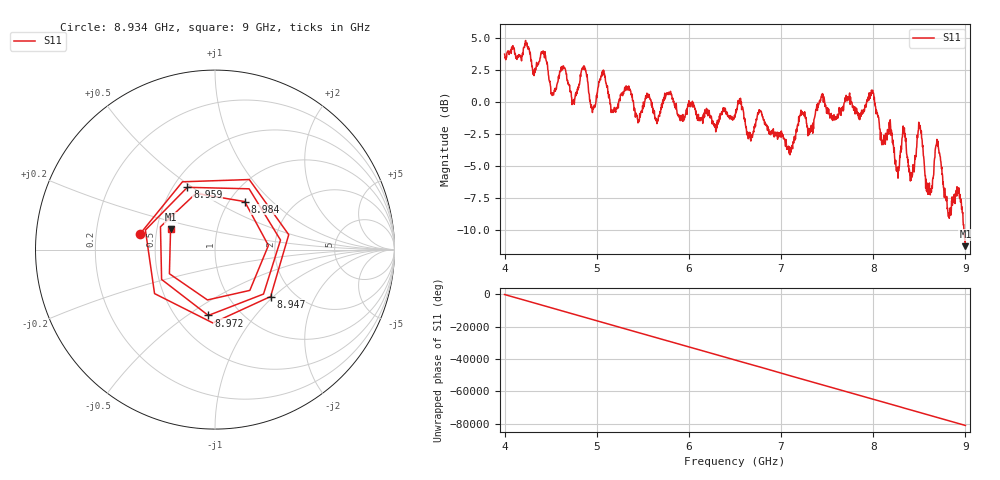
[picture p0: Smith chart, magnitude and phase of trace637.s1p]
! Created with skrf 1.8.0 (http://scikit-rf.org).
# Hz S RI R 50.0
!freq ReS11 ImS11
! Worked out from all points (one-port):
!   1601 points, 4 GHz to 9 GHz, reference 50 ohm
!   lowest |S11| = -11.3 dB at 9 GHz (marker M1), VSWR 1.75, Z = 29.5 + j7.21 ohm
!   |S11| at or under -10 dB: 8.983703 GHz to end of sweep
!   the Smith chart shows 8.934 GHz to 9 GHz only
!   S11 on the Smith chart (normalised r, x): 8.934 GHz: 0.40, +0.08; 8.947 GHz: 1.53, -0.96; 8.959 GHz: 0.59, +0.48; 8.972 GHz: 0.71, -0.61; 8.984 GHz: 1.17, +0.70; 9 GHz: 0.59, +0.14
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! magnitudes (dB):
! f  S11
! 4 GHz  3.8
! 4.419 GHz  4.0
! 4.528 GHz  0.6
! 4.625 GHz  2.8
! 4.75 GHz  0.1
! 4.856 GHz  2.6
! 4.956 GHz  -0.4
! 5.066 GHz  2.2
! 5.25 GHz  0.1
! 5.875 GHz  -1.0
! 6.5 GHz  -1.2
! 7.125 GHz  -3.7
! 7.438 GHz  0.4
! 7.75 GHz  -0.2
! 7.988 GHz  0.8
! 8.259 GHz  -5.4
! 8.328 GHz  -2.2
! 8.375 GHz  -4.7
! 8.503 GHz  -1.9
! 8.594 GHz  -7.2
! 8.697 GHz  -3.1
! 8.819 GHz  -8.9
! 8.934 GHz  -7.4
! 8.947 GHz  -7.8
! 8.959 GHz  -8.4
! 8.972 GHz  -8.7
! 8.984 GHz  -10.0
! 9 GHz  -11.3
